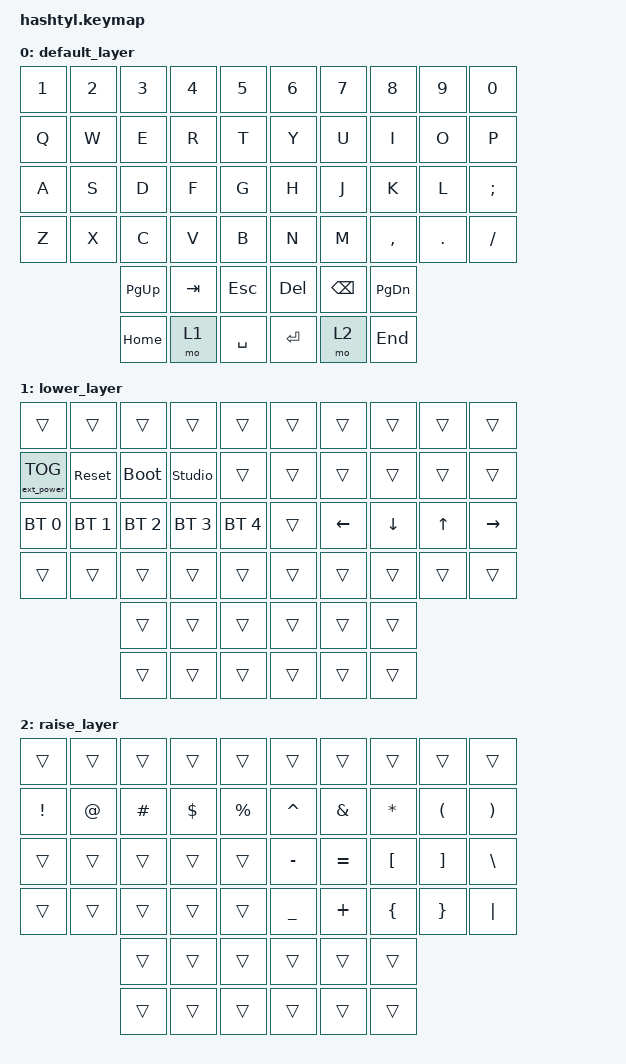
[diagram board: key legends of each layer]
/*
 * Copyright (c) 2020 The ZMK Contributors
 *
 * SPDX-License-Identifier: MIT
 */

#include <behaviors.dtsi>
#include <dt-bindings/zmk/bt.h>
#include <dt-bindings/zmk/ext_power.h>
#include <dt-bindings/zmk/keys.h>

/ {
    keymap {
        compatible = "zmk,keymap";

        default_layer {
            bindings = <
&kp N1  &kp N2  &kp N3       &kp N4   &kp N5      &kp N6      &kp N7         &kp N8         &kp N9   &kp N0
&kp Q   &kp W   &kp E        &kp R    &kp T       &kp Y       &kp U          &kp I          &kp O    &kp P
&kp A   &kp S   &kp D        &kp F    &kp G       &kp H       &kp J          &kp K          &kp L    &kp SEMI
&kp Z   &kp X   &kp C        &kp V    &kp B       &kp N       &kp M          &kp COMMA      &kp DOT  &kp FSLH
                &kp PAGE_UP  &kp TAB  &kp ESCAPE  &kp DELETE  &kp BACKSPACE  &kp PAGE_DOWN
                &kp HOME     &mo 1    &kp SPACE   &kp RET     &mo 2          &kp END
            >;
        };

        lower_layer {
            bindings = <
&trans             &trans        &trans        &trans          &trans        &trans  &trans    &trans    &trans  &trans
&ext_power EP_TOG  &sys_reset    &bootloader   &studio_unlock  &trans        &trans  &trans    &trans    &trans  &trans
&bt BT_SEL 0       &bt BT_SEL 1  &bt BT_SEL 2  &bt BT_SEL 3    &bt BT_SEL 4  &trans  &kp LEFT  &kp DOWN  &kp UP  &kp RIGHT
&trans             &trans        &trans        &trans          &trans        &trans  &trans    &trans    &trans  &trans
                                 &trans        &trans          &trans        &trans  &trans    &trans
                                 &trans        &trans          &trans        &trans  &trans    &trans
            >;
        };

        raise_layer {
            bindings = <
&trans    &trans  &trans    &trans    &trans     &trans     &trans     &trans     &trans    &trans
&kp EXCL  &kp AT  &kp HASH  &kp DLLR  &kp PRCNT  &kp CARET  &kp AMPS   &kp ASTRK  &kp LPAR  &kp RPAR
&trans    &trans  &trans    &trans    &trans     &kp MINUS  &kp EQUAL  &kp LBKT   &kp RBKT  &kp BSLH
&trans    &trans  &trans    &trans    &trans     &kp UNDER  &kp PLUS   &kp LBRC   &kp RBRC  &kp PIPE
                  &trans    &trans    &trans     &trans     &trans     &trans
                  &trans    &trans    &trans     &trans     &trans     &trans
            >;
        };
    };
};
